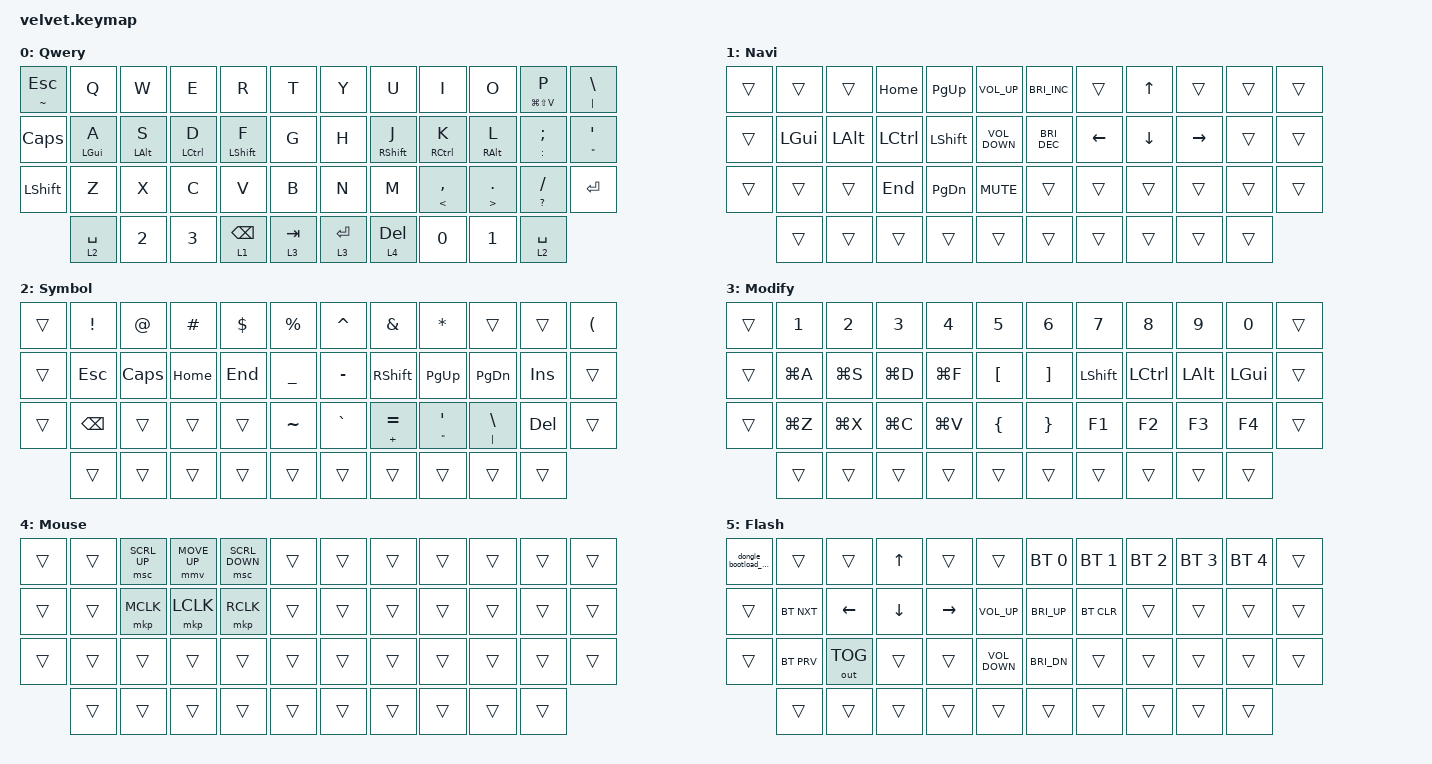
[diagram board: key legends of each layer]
/*
 * Copyright (c) 2020 The ZMK Contributors
 *
 * SPDX-License-Identifier: MIT
 */

#define ZMK_POINTING_DEFAULT_MOVE_VAL 1200  // 600
#define ZMK_POINTING_DEFAULT_SCRL_VAL 35    // 10

#include <input/processors.dtsi>
#include <zephyr/dt-bindings/input/input-event-codes.h>
#include <behaviors.dtsi>
#include <dt-bindings/zmk/bt.h>
#include <dt-bindings/zmk/keys.h>
#include <dt-bindings/zmk/outputs.h>
#include <dt-bindings/zmk/pointing.h>

#define SCROLLER 1
#define MOUSE 4

/ {
    zip_scroll_scaler: zip_scroll_scaler {
        compatible = "zmk,input-processor-scaler";
        #input-processor-cells = <2>;
        type = <INPUT_EV_REL>;
        codes = <INPUT_REL_WHEEL INPUT_REL_HWHEEL>;
        track-remainders;
    };
};

&mmv_input_listener { input-processors = <&zip_xy_scaler 2 1>; };

&msc_input_listener { input-processors = <&zip_scroll_scaler 2 1>; };

&msc {
    acceleration-exponent = <0>;      // 0
    time-to-max-speed-ms = <0>;       // 300
    delay-ms = <0>;                   // 0
};

&mmv {
    time-to-max-speed-ms = <400>;
    acceleration-exponent = <1>;
};

&mt {
    tapping-term-ms = <200>;
    flavor = "tap-preferred";
};

&sk {
    release-after-ms = <2000>;
    quick-release;
};

/ {
    macros {
        dongle_bootload_macro: bootload_macro {
            compatible = "zmk,behavior-macro";
            #binding-cells = <0>;
            bindings = <&bootloader>;
            label = "BOOTLOAD_MACRO";
        };
    };

    combos {
        compatible = "zmk,combos";

        left_bkt {
            bindings = <&kp LBKT>;
            key-positions = <3 4>;
            timeout-ms = <50>;
        };

        right_bkt {
            bindings = <&kp RBKT>;
            key-positions = <7 8>;
            timeout-ms = <50>;
        };

        left_par {
            bindings = <&kp LEFT_PARENTHESIS>;
            key-positions = <15 16>;
            timeout-ms = <50>;
        };

        right_par {
            bindings = <&kp RIGHT_PARENTHESIS>;
            key-positions = <19 20>;
            timeout-ms = <50>;
        };

        left_brace {
            bindings = <&kp LEFT_BRACE>;
            key-positions = <27 28>;
            timeout-ms = <50>;
        };

        right_brace {
            bindings = <&kp RIGHT_BRACE>;
            key-positions = <32 33>;
            timeout-ms = <50>;
        };

        bac {
            bindings = <&kp BACKSLASH>;
            key-positions = <5 6>;
            timeout-ms = <50>;
        };

        pipe {
            bindings = <&kp PIPE>;
            key-positions = <17 18>;
            timeout-ms = <50>;
        };

        esc {
            bindings = <&kp ESC>;
            key-positions = <0 1>;
            timeout-ms = <50>;
        };

        plus {
            bindings = <&kp PLUS>;
            key-positions = <6 7>;
            timeout-ms = <50>;
        };

        equal {
            bindings = <&kp EQUAL>;
            key-positions = <18 19>;
            timeout-ms = <50>;
        };

        lock {
            bindings = <&kp LG(L)>;
            key-positions = <28 29>;
        };
    };

    behaviors {
        hml: homerow_mods_left {
            compatible = "zmk,behavior-hold-tap";
            label = "HOMEROW_MODS_LEFT";
            #binding-cells = <2>;
            tapping-term-ms = <200>;
            flavor = "balanced";
            bindings = <&kp>, <&kp>;

            quick-tap-ms = <180>;
            require-prior-idle-ms = <125>;
            hold-trigger-on-release;
            hold-trigger-key-positions = <21 22 19 20>;
        };

        ltq: ltq {
            compatible = "zmk,behavior-hold-tap";
            label = "LTQ";
            #binding-cells = <2>;
            tapping-term-ms = <200>;
            flavor = "hold-preferred";
            bindings = <&mo>, <&kp>;

            quick-tap-ms = <180>;
        };

        as: as {
            compatible = "zmk,behavior-hold-tap";
            label = "AUTO_SHIFT";
            bindings = <&kp>, <&kp>;

            #binding-cells = <2>;
            tapping-term-ms = <135>;
            quick-tap-ms = <0>;
            flavor = "tap-preferred";
        };

        hmr: hmr {
            compatible = "zmk,behavior-hold-tap";
            label = "HMR";
            bindings = <&kp>, <&kp>;

            #binding-cells = <2>;
            tapping-term-ms = <250>;
            quick-tap-ms = <150>;
            require-prior-idle-ms = <125>;
            flavor = "balanced";
            hold-trigger-key-positions = <15 16 14 13>;
            hold-trigger-on-release;
        };
    };

    keymap {
        compatible = "zmk,keymap";

        Qwery {
            bindings = <
&as TILDE ESC   &kp Q            &kp W            &kp E         &kp R              &kp T       &kp Y         &kp U               &kp I                &kp O                    &hmr LG(LS(V)) P     &as PIPE BACKSLASH
&kp CAPSLOCK    &hml LEFT_GUI A  &hml LEFT_ALT S  &hml LCTRL D  &hml LEFT_SHIFT F  &kp G       &kp H         &hmr RIGHT_SHIFT J  &hmr RCTRL K         &hmr RIGHT_ALT L         &as COLON SEMICOLON  &as DOUBLE_QUOTES SINGLE_QUOTE
&kp LEFT_SHIFT  &kp Z            &kp X            &kp C         &kp V              &kp B       &kp N         &kp M               &as LESS_THAN COMMA  &as GREATER_THAN PERIOD  &as QUESTION SLASH   &kp ENTER
                &ltq 2 SPACE     &kp NUMBER_2     &kp NUMBER_3  &ltq 1 BACKSPACE   &ltq 3 TAB  &ltq 3 ENTER  &ltq 4 DELETE       &kp N0               &kp NUMBER_1             &ltq 2 SPACE
            >;

            label = "Qwery";
        };

        Navi {
            bindings = <
&trans  &trans        &trans        &kp HOME          &kp PAGE_UP     &kp C_VOLUME_UP    &kp C_BRIGHTNESS_INC  &trans    &kp UP_ARROW    &trans           &trans  &trans
&trans  &kp LEFT_GUI  &kp LEFT_ALT  &kp LEFT_CONTROL  &kp LEFT_SHIFT  &kp C_VOLUME_DOWN  &kp C_BRIGHTNESS_DEC  &kp LEFT  &kp DOWN_ARROW  &kp RIGHT_ARROW  &trans  &trans
&trans  &trans        &trans        &kp END           &kp PAGE_DOWN   &kp K_MUTE         &trans                &trans    &trans          &trans           &trans  &trans
        &trans        &trans        &trans            &trans          &trans             &trans                &trans    &trans          &trans           &trans
            >;

            label = "Navi";
        };

        Symbol {
            bindings = <
&trans  &kp EXCLAMATION  &kp AT_SIGN   &kp HASH  &kp DOLLAR  &kp PERCENT  &kp CARET  &kp AMPERSAND    &kp STAR                        &trans              &trans      &kp LEFT_PARENTHESIS
&trans  &kp ESCAPE       &kp CAPSLOCK  &kp HOME  &kp END     &kp UNDER    &kp MINUS  &kp RIGHT_SHIFT  &kp PAGE_UP                     &kp PAGE_DOWN       &kp INSERT  &trans
&trans  &kp BACKSPACE    &trans        &trans    &trans      &kp TILDE    &kp GRAVE  &as PLUS EQUAL   &as DOUBLE_QUOTES SINGLE_QUOTE  &as PIPE BACKSLASH  &kp DEL     &trans
        &trans           &trans        &trans    &trans      &trans       &trans     &trans           &trans                          &trans              &trans
            >;

            label = "Symbol";
        };

        Modify {
            bindings = <
&trans  &kp NUMBER_1  &kp NUMBER_2  &kp NUMBER_3  &kp NUMBER_4  &kp NUMBER_5      &kp NUMBER_6       &kp NUMBER_7    &kp NUMBER_8      &kp NUMBER_9  &kp NUMBER_0  &trans
&trans  &kp LG(A)     &kp LG(S)     &kp LG(D)     &kp LG(F)     &kp LEFT_BRACKET  &kp RIGHT_BRACKET  &kp LEFT_SHIFT  &kp LEFT_CONTROL  &kp LEFT_ALT  &kp LEFT_GUI  &trans
&trans  &kp LG(Z)     &kp LG(X)     &kp LG(C)     &kp LG(V)     &kp LEFT_BRACE    &kp RIGHT_BRACE    &kp F1          &kp F2            &kp F3        &kp F4        &trans
        &trans        &trans        &trans        &trans        &trans            &trans             &trans          &trans            &trans        &trans
            >;

            label = "Modify";
        };

        Mouse {
            bindings = <
&trans  &trans  &msc SCRL_UP  &mmv MOVE_UP  &msc SCRL_DOWN  &trans  &trans  &trans  &trans  &trans  &trans  &trans
&trans  &trans  &mkp MCLK     &mkp LCLK     &mkp RCLK       &trans  &trans  &trans  &trans  &trans  &trans  &trans
&trans  &trans  &trans        &trans        &trans          &trans  &trans  &trans  &trans  &trans  &trans  &trans
        &trans  &trans        &trans        &trans          &trans  &trans  &trans  &trans  &trans  &trans
            >;

            label = "Mouse";
        };

        Flash {
            bindings = <
&dongle_bootload_macro  &trans      &trans        &kp UP    &trans     &trans             &bt BT_SEL 0  &bt BT_SEL 1  &bt BT_SEL 2  &bt BT_SEL 3  &bt BT_SEL 4  &trans
&trans                  &bt BT_NXT  &kp LEFT      &kp DOWN  &kp RIGHT  &kp C_VOLUME_UP    &kp C_BRI_UP  &bt BT_CLR    &trans        &trans        &trans        &trans
&trans                  &bt BT_PRV  &out OUT_TOG  &trans    &trans     &kp C_VOLUME_DOWN  &kp C_BRI_DN  &trans        &trans        &trans        &trans        &trans
                        &trans      &trans        &trans    &trans     &trans             &trans        &trans        &trans        &trans        &trans
            >;

            label = "Flash";
        };
    };

    conditional_layers {
        compatible = "zmk,conditional-layers";

        Flash {
            if-layers = <2 3>;
            then-layer = <5>;
        };
    };
};
